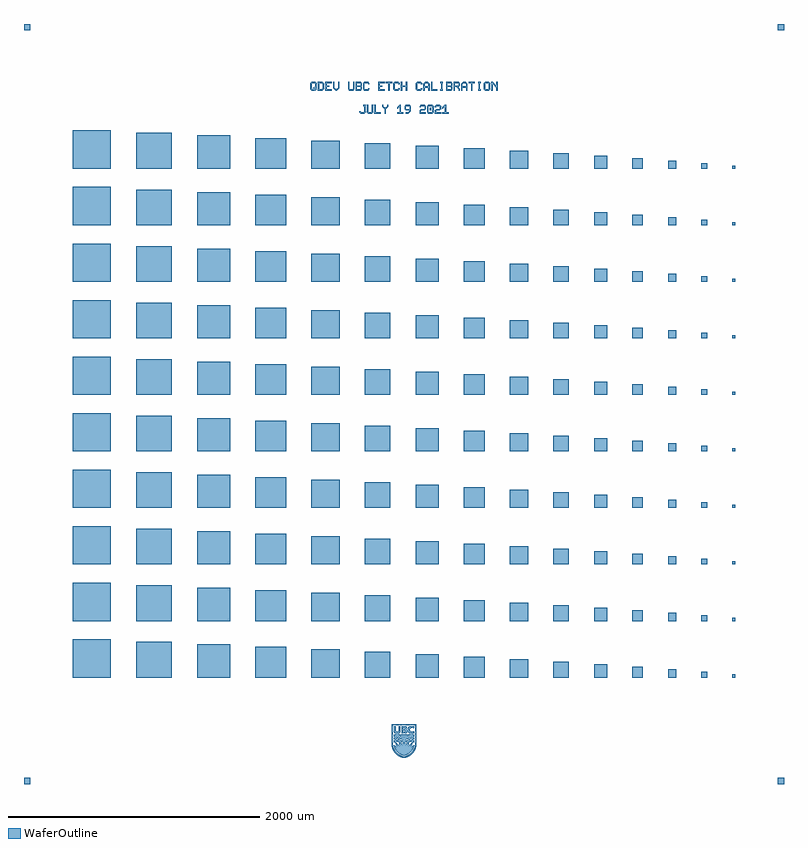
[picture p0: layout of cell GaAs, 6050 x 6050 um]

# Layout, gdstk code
import gdstk
lib = gdstk.Library(unit=1e-6, precision=1e-09)
def R(c, l, rs):  # rectangles x0, y0, x1, y1
    for r in rs: c.add(gdstk.rectangle(r[:2], r[2:], *l))
def P(c, l, *ps):  # polygons
    for p in ps: c.add(gdstk.Polygon(p, *l))
WaferOutline = (1, 0)

test1 = lib.new_cell('Test1')
R(test1, WaferOutline, [(0,0,305,305), (505,0,790,285), (990,0,1255,265), (1455,0,1700,245), (1900,0,2125,225), (2325,0,2530,205), (2730,0,2915,185), (3115,0,3280,165), (3480,0,3625,145), (3825,0,3950,125), (4150,0,4255,105), (4455,0,4540,85), (4740,0,4805,65), (5005,0,5050,45), (5250,0,5275,25)])

test_patterns = lib.new_cell('Test$Patterns')
test_patterns.add(gdstk.Reference(test1, (0,0)))

text = lib.new_cell('TEXT')
P(text, WaferOutline, [(10,0),(0,10),(0,60),(10,70),(40,70),(50,60),(15,60),(10,55),(10,15),(15,10),(25,10),(25,15),(20,20),(30,30),(35,25),(40,25),(40,55),(35,60),(50,60),(50,20),(45,15),(50,10),(40,0),(35,5),(30,0)],
  [(60,0),(60,70),(95,70),(105,60),(70,60),(70,10),(90,10),(100,20),(100,50),(90,60),(105,60),(110,55),(110,15),(95,0)],
  [(120,0),(120,70),(170,70),(170,60),(130,60),(130,40),(150,40),(150,30),(130,30),(130,10),(170,10),(170,0)],
  [(200,0),(180,20),(180,70),(190,70),(190,25),(205,10),(220,25),(220,70),(230,70),(230,20),(210,0)],
  [(310,0),(300,10),(300,70),(310,70),(310,15),(315,10),(335,10),(340,15),(340,70),(350,70),(350,10),(340,0)],
  [(360,0),(360,70),(400,70),(410,60),(370,60),(370,40),(395,40),(400,45),(400,55),(395,60),(410,60),(410,40),(405,35),(410,30),(370,30),(370,10),(395,10),(400,15),(400,25),(395,30),(410,30),(410,10),(400,0)],
  [(430,0),(420,10),(420,60),(430,70),(460,70),(470,60),(470,50),(460,50),(460,55),(455,60),(435,60),(430,55),(430,15),(435,10),(455,10),(460,15),(460,20),(470,20),(470,10),(460,0)],
  [(540,0),(540,70),(590,70),(590,60),(550,60),(550,40),(570,40),(570,30),(550,30),(550,10),(590,10),(590,0)],
  [(620,0),(620,60),(600,60),(600,70),(650,70),(650,60),(630,60),(630,0)],
  [(670,0),(660,10),(660,60),(670,70),(700,70),(710,60),(710,50),(700,50),(700,55),(695,60),(675,60),(670,55),(670,15),(675,10),(695,10),(700,15),(700,20),(710,20),(710,10),(700,0)],
  [(720,0),(720,70),(730,70),(730,40),(760,40),(760,70),(770,70),(770,0),(760,0),(760,30),(730,30),(730,0)],
  [(850,0),(840,10),(840,60),(850,70),(880,70),(890,60),(890,50),(880,50),(880,55),(875,60),(855,60),(850,55),(850,15),(855,10),(875,10),(880,15),(880,20),(890,20),(890,10),(880,0)],
  [(900,0),(900,55),(915,70),(935,70),(945,60),(920,60),(910,50),(910,35),(940,35),(940,50),(930,60),(945,60),(950,55),(950,0),(940,0),(940,25),(910,25),(910,0)],
  [(960,0),(960,70),(970,70),(970,10),(1010,10),(1010,0)],
  [(1035,0),(1035,10),(1040,10),(1040,60),(1035,60),(1035,70),(1055,70),(1055,60),(1050,60),(1050,10),(1055,10),(1055,0)],
  [(1080,0),(1080,70),(1120,70),(1130,60),(1090,60),(1090,40),(1115,40),(1120,45),(1120,55),(1115,60),(1130,60),(1130,40),(1125,35),(1130,30),(1090,30),(1090,10),(1115,10),(1120,15),(1120,25),(1115,30),(1130,30),(1130,10),(1120,0)],
  [(1140,0),(1140,70),(1180,70),(1190,60),(1150,60),(1150,40),(1175,40),(1180,45),(1180,55),(1175,60),(1190,60),(1190,40),(1180,30),(1180,25),(1190,15),(1190,0),(1180,0),(1180,10),(1160,30),(1150,30),(1150,0)],
  [(1200,0),(1200,55),(1215,70),(1235,70),(1245,60),(1220,60),(1210,50),(1210,35),(1240,35),(1240,50),(1230,60),(1245,60),(1250,55),(1250,0),(1240,0),(1240,25),(1210,25),(1210,0)],
  [(1280,0),(1280,60),(1260,60),(1260,70),(1310,70),(1310,60),(1290,60),(1290,0)],
  [(1335,0),(1335,10),(1340,10),(1340,60),(1335,60),(1335,70),(1355,70),(1355,60),(1350,60),(1350,10),(1355,10),(1355,0)],
  [(1390,0),(1380,10),(1380,60),(1390,70),(1420,70),(1430,60),(1430,35),(1420,35),(1420,55),(1415,60),(1395,60),(1390,55),(1390,15),(1395,10),(1415,10),(1420,15),(1420,35),(1430,35),(1430,10),(1420,0)],
  [(1440,0),(1440,70),(1450,70),(1475,45),(1480,45),(1480,70),(1490,70),(1490,0),(1480,0),(1480,25),(1455,50),(1450,50),(1450,0)])

ubc_logo = lib.new_cell('UBC$Logo')
P(ubc_logo, WaferOutline, [(37,-72),(37,-71),(36,-71),(36,-69),(35,-69),(35,-67),(34,-67),(34,-65),(39,-65),(39,-64),(42,-64),(42,-63),(45,-63),(45,-67),(44,-67),(44,-71),(41,-71),(41,-72)],
  [(58,-72),(58,-71),(55,-71),(55,-67),(54,-67),(54,-63),(57,-63),(57,-64),(60,-64),(60,-65),(65,-65),(65,-67),(64,-67),(64,-69),(63,-69),(63,-71),(62,-71),(62,-72)],
  [(9,-72),(9,-65),(12,-65),(12,-64),(15,-64),(15,-63),(18,-63),(18,-62),(25,-62),(25,-65),(26,-65),(26,-70),(17,-70),(17,-71),(15,-71),(15,-72)],
  [(84,-72),(84,-71),(82,-71),(82,-70),(73,-70),(73,-65),(74,-65),(74,-62),(81,-62),(81,-63),(84,-63),(84,-64),(87,-64),(87,-65),(90,-65),(90,-72)],
  [(48,-126),(48,-125),(46,-125),(46,-124),(43,-124),(43,-123),(41,-123),(41,-122),(39,-122),(39,-121),(36,-121),(36,-120),(35,-120),(35,-119),(33,-119),(33,-118),(31,-118),(31,-117),(30,-117),(30,-116),(28,-116),(28,-115),(27,-115),(27,-114),(26,-114),(26,-113),(25,-113),(25,-112),(24,-112),(24,-111),(23,-111),(23,-110),(22,-110),(22,-109),(21,-109),(21,-108),(20,-108),(20,-107),(19,-107),(19,-105),(18,-105),(18,-104),(17,-104),(17,-102),(16,-102),(16,-101),(15,-101),(15,-99),(14,-99),(14,-97),(13,-97),(13,-94),(12,-94),(12,-92),(11,-92),(11,-89),(10,-89),(10,-87),(9,-87),(9,-85),(11,-85),(11,-86),(12,-86),(12,-87),(14,-87),(14,-88),(15,-88),(15,-89),(16,-89),(16,-90),(18,-90),(18,-91),(19,-91),(19,-92),(20,-92),(20,-93),(22,-93),(22,-94),(23,-94),(23,-95),(24,-95),(24,-94),(23,-94),(23,-92),(22,-92),(22,-90),(21,-90),(21,-87),(20,-87),(20,-85),(19,-85),(19,-82),(18,-82),(18,-80),(17,-80),(17,-77),(16,-77),(16,-75),(15,-75),(15,-73),(17,-73),(17,-74),(18,-74),(18,-75),(19,-75),(19,-76),(20,-76),(20,-77),(21,-77),(21,-78),(22,-78),(22,-79),(23,-79),(23,-80),(24,-80),(24,-81),(25,-81),(25,-82),(26,-82),(26,-83),(27,-83),(27,-84),(28,-84),(28,-85),(29,-85),(29,-86),(30,-86),(30,-87),(31,-87),(31,-88),(32,-88),(32,-89),(33,-89),(33,-86),(32,-86),(32,-82),(31,-82),(31,-78),(30,-78),(30,-73),(29,-73),(29,-69),(28,-69),(28,-65),(27,-65),(27,-60),(26,-60),(26,-59),(24,-59),(24,-58),(21,-58),(21,-59),(17,-59),(17,-60),(14,-60),(14,-61),(9,-61),(9,-54),(12,-54),(12,-53),(15,-53),(15,-52),(18,-52),(18,-51),(28,-51),(28,-52),(31,-52),(31,-53),(34,-53),(34,-54),(38,-54),(38,-53),(42,-53),(42,-52),(45,-52),(45,-51),(47,-51),(47,-53),(46,-53),(46,-59),(44,-59),(44,-60),(41,-60),(41,-61),(31,-61),(31,-60),(29,-60),(29,-59),(28,-59),(28,-61),(29,-61),(29,-62),(30,-62),(30,-64),(31,-64),(31,-66),(32,-66),(32,-67),(33,-67),(33,-69),(34,-69),(34,-71),(35,-71),(35,-73),(36,-73),(36,-74),(37,-74),(37,-76),(38,-76),(38,-78),(39,-78),(39,-79),(40,-79),(40,-81),(41,-81),(41,-83),(42,-83),(42,-84),(43,-84),(43,-86),(44,-86),(44,-82),(45,-82),(45,-75),(46,-75),(46,-68),(47,-68),(47,-61),(48,-61),(48,-53),(49,-53),(49,-50),(50,-50),(50,-53),(51,-53),(51,-61),(52,-61),(52,-68),(53,-68),(53,-75),(54,-75),(54,-82),(55,-82),(55,-86),(56,-86),(56,-84),(57,-84),(57,-83),(58,-83),(58,-81),(59,-81),(59,-79),(60,-79),(60,-78),(61,-78),(61,-76),(62,-76),(62,-74),(63,-74),(63,-73),(64,-73),(64,-71),(65,-71),(65,-69),(66,-69),(66,-67),(67,-67),(67,-66),(68,-66),(68,-64),(69,-64),(69,-62),(70,-62),(70,-61),(71,-61),(71,-59),(70,-59),(70,-60),(68,-60),(68,-61),(58,-61),(58,-60),(55,-60),(55,-59),(53,-59),(53,-53),(52,-53),(52,-51),(54,-51),(54,-52),(57,-52),(57,-53),(61,-53),(61,-54),(65,-54),(65,-53),(68,-53),(68,-52),(71,-52),(71,-51),(81,-51),(81,-52),(84,-52),(84,-53),(87,-53),(87,-54),(90,-54),(90,-61),(85,-61),(85,-60),(82,-60),(82,-59),(78,-59),(78,-58),(75,-58),(75,-59),(73,-59),(73,-60),(72,-60),(72,-65),(71,-65),(71,-69),(70,-69),(70,-73),(69,-73),(69,-78),(68,-78),(68,-82),(67,-82),(67,-86),(66,-86),(66,-89),(67,-89),(67,-88),(68,-88),(68,-87),(69,-87),(69,-86),(70,-86),(70,-85),(71,-85),(71,-84),(72,-84),(72,-83),(73,-83),(73,-82),(74,-82),(74,-81),(75,-81),(75,-80),(76,-80),(76,-79),(77,-79),(77,-78),(78,-78),(78,-77),(79,-77),(79,-76),(80,-76),(80,-75),(81,-75),(81,-74),(82,-74),(82,-73),(84,-73),(84,-75),(83,-75),(83,-77),(82,-77),(82,-80),(81,-80),(81,-82),(80,-82),(80,-85),(79,-85),(79,-87),(78,-87),(78,-90),(77,-90),(77,-92),(76,-92),(76,-94),(75,-94),(75,-95),(76,-95),(76,-94),(77,-94),(77,-93),(79,-93),(79,-92),(80,-92),(80,-91),(81,-91),(81,-90),(83,-90),(83,-89),(84,-89),(84,-88),(85,-88),(85,-87),(87,-87),(87,-86),(88,-86),(88,-85),(90,-85),(90,-87),(89,-87),(89,-89),(88,-89),(88,-92),(87,-92),(87,-94),(86,-94),(86,-97),(85,-97),(85,-99),(84,-99),(84,-101),(83,-101),(83,-102),(82,-102),(82,-104),(81,-104),(81,-105),(80,-105),(80,-107),(79,-107),(79,-108),(78,-108),(78,-109),(77,-109),(77,-110),(76,-110),(76,-111),(75,-111),(75,-112),(74,-112),(74,-113),(73,-113),(73,-114),(72,-114),(72,-115),(71,-115),(71,-116),(69,-116),(69,-117),(68,-117),(68,-118),(66,-118),(66,-119),(64,-119),(64,-120),(63,-120),(63,-121),(60,-121),(60,-122),(58,-122),(58,-123),(56,-123),(56,-124),(53,-124),(53,-125),(51,-125),(51,-126)],
  [(9,-50),(9,-43),(11,-43),(11,-42),(14,-42),(14,-41),(17,-41),(17,-40),(28,-40),(28,-41),(31,-41),(31,-42),(35,-42),(35,-43),(37,-43),(37,-42),(41,-42),(41,-41),(44,-41),(44,-40),(55,-40),(55,-41),(58,-41),(58,-42),(62,-42),(62,-43),(64,-43),(64,-42),(68,-42),(68,-41),(71,-41),(71,-40),(82,-40),(82,-41),(85,-41),(85,-42),(88,-42),(88,-43),(90,-43),(90,-50),(85,-50),(85,-49),(83,-49),(83,-48),(79,-48),(79,-47),(74,-47),(74,-48),(70,-48),(70,-49),(67,-49),(67,-50),(59,-50),(59,-49),(56,-49),(56,-48),(52,-48),(52,-47),(47,-47),(47,-48),(43,-48),(43,-49),(40,-49),(40,-50),(32,-50),(32,-49),(29,-49),(29,-48),(25,-48),(25,-47),(20,-47),(20,-48),(16,-48),(16,-49),(14,-49),(14,-50)],
  [(18,-38),(18,-37),(15,-37),(15,-36),(13,-36),(13,-35),(12,-35),(12,-34),(11,-34),(11,-33),(10,-33),(10,-31),(9,-31),(9,-8),(16,-8),(16,-26),(17,-26),(17,-29),(18,-29),(18,-30),(19,-30),(19,-31),(21,-31),(21,-32),(23,-32),(23,-31),(26,-31),(26,-30),(27,-30),(27,-28),(28,-28),(28,-8),(35,-8),(35,-31),(34,-31),(34,-33),(33,-33),(33,-34),(32,-34),(32,-35),(31,-35),(31,-36),(29,-36),(29,-37),(26,-37),(26,-38)],
  [(40,-37),(40,-25),(47,-25),(47,-32),(51,-32),(51,-31),(54,-31),(54,-30),(55,-30),(55,-27),(54,-27),(54,-26),(53,-26),(53,-25),(40,-25),(40,-14),(47,-14),(47,-20),(50,-20),(50,-19),(53,-19),(53,-18),(54,-18),(54,-16),(53,-16),(53,-15),(52,-15),(52,-14),(40,-14),(40,-8),(53,-8),(53,-9),(57,-9),(57,-10),(59,-10),(59,-11),(60,-11),(60,-13),(61,-13),(61,-19),(60,-19),(60,-21),(59,-21),(59,-23),(61,-23),(61,-25),(62,-25),(62,-32),(61,-32),(61,-34),(60,-34),(60,-35),(59,-35),(59,-36),(56,-36),(56,-37)],
  [(76,-38),(76,-37),(73,-37),(73,-36),(71,-36),(71,-35),(70,-35),(70,-34),(68,-34),(68,-32),(67,-32),(67,-31),(66,-31),(66,-28),(65,-28),(65,-17),(66,-17),(66,-15),(67,-15),(67,-13),(68,-13),(68,-12),(69,-12),(69,-11),(71,-11),(71,-10),(72,-10),(72,-9),(75,-9),(75,-8),(86,-8),(86,-9),(89,-9),(89,-10),(90,-10),(90,-12),(89,-12),(89,-17),(87,-17),(87,-16),(86,-16),(86,-15),(83,-15),(83,-14),(78,-14),(78,-15),(76,-15),(76,-16),(75,-16),(75,-17),(74,-17),(74,-18),(73,-18),(73,-22),(72,-22),(72,-23),(73,-23),(73,-27),(74,-27),(74,-29),(75,-29),(75,-30),(77,-30),(77,-31),(80,-31),(80,-32),(82,-32),(82,-31),(85,-31),(85,-30),(87,-30),(87,-29),(89,-29),(89,-30),(90,-30),(90,-36),(88,-36),(88,-37),(84,-37),(84,-38)],
  [(46,-135),(46,-134),(42,-134),(42,-133),(40,-133),(40,-132),(37,-132),(37,-131),(35,-131),(35,-130),(33,-130),(33,-129),(31,-129),(31,-128),(29,-128),(29,-127),(27,-127),(27,-126),(26,-126),(26,-125),(24,-125),(24,-124),(23,-124),(23,-123),(22,-123),(22,-122),(20,-122),(20,-121),(19,-121),(19,-120),(18,-120),(18,-119),(17,-119),(17,-118),(16,-118),(16,-117),(15,-117),(15,-116),(14,-116),(14,-115),(13,-115),(13,-114),(12,-114),(12,-112),(11,-112),(11,-111),(10,-111),(10,-109),(9,-109),(9,-108),(8,-108),(8,-106),(7,-106),(7,-104),(6,-104),(6,-102),(5,-102),(5,-100),(4,-100),(4,-98),(3,-98),(3,-95),(2,-95),(2,-91),(1,-91),(1,-86),(0,-86),(0,-4),(4,-4),(4,-79),(5,-79),(5,-86),(6,-86),(6,-91),(7,-91),(7,-94),(8,-94),(8,-97),(9,-97),(9,-99),(10,-99),(10,-101),(11,-101),(11,-103),(12,-103),(12,-105),(13,-105),(13,-106),(14,-106),(14,-108),(15,-108),(15,-109),(16,-109),(16,-110),(17,-110),(17,-111),(18,-111),(18,-113),(19,-113),(19,-114),(20,-114),(20,-115),(21,-115),(21,-116),(23,-116),(23,-117),(24,-117),(24,-118),(25,-118),(25,-119),(26,-119),(26,-120),(28,-120),(28,-121),(29,-121),(29,-122),(31,-122),(31,-123),(32,-123),(32,-124),(34,-124),(34,-125),(36,-125),(36,-126),(38,-126),(38,-127),(41,-127),(41,-128),(43,-128),(43,-129),(46,-129),(46,-130),(53,-130),(53,-129),(56,-129),(56,-128),(58,-128),(58,-127),(61,-127),(61,-126),(63,-126),(63,-125),(65,-125),(65,-124),(67,-124),(67,-123),(68,-123),(68,-122),(70,-122),(70,-121),(71,-121),(71,-120),(73,-120),(73,-119),(74,-119),(74,-118),(75,-118),(75,-117),(76,-117),(76,-116),(78,-116),(78,-115),(79,-115),(79,-114),(80,-114),(80,-113),(81,-113),(81,-111),(82,-111),(82,-110),(83,-110),(83,-109),(84,-109),(84,-108),(85,-108),(85,-106),(86,-106),(86,-105),(87,-105),(87,-103),(88,-103),(88,-101),(89,-101),(89,-99),(90,-99),(90,-97),(91,-97),(91,-94),(92,-94),(92,-91),(93,-91),(93,-86),(94,-86),(94,-79),(95,-79),(95,-4),(0,-4),(0,0),(99,0),(99,-86),(98,-86),(98,-91),(97,-91),(97,-95),(96,-95),(96,-98),(95,-98),(95,-100),(94,-100),(94,-102),(93,-102),(93,-104),(92,-104),(92,-106),(91,-106),(91,-108),(90,-108),(90,-109),(89,-109),(89,-111),(88,-111),(88,-112),(87,-112),(87,-114),(86,-114),(86,-115),(85,-115),(85,-116),(84,-116),(84,-117),(83,-117),(83,-118),(82,-118),(82,-119),(81,-119),(81,-120),(80,-120),(80,-121),(79,-121),(79,-122),(77,-122),(77,-123),(76,-123),(76,-124),(75,-124),(75,-125),(73,-125),(73,-126),(72,-126),(72,-127),(70,-127),(70,-128),(68,-128),(68,-129),(66,-129),(66,-130),(64,-130),(64,-131),(62,-131),(62,-132),(59,-132),(59,-133),(57,-133),(57,-134),(53,-134),(53,-135)])

text_3 = lib.new_cell('TEXT$3')
R(text_3, WaferOutline, [(560,25,570,45)])
P(text_3, WaferOutline, [(10,0),(0,10),(0,20),(10,20),(10,15),(15,10),(35,10),(40,15),(40,60),(30,60),(30,70),(50,70),(50,10),(40,0)],
  [(70,0),(60,10),(60,70),(70,70),(70,15),(75,10),(95,10),(100,15),(100,70),(110,70),(110,10),(100,0)],
  [(120,0),(120,70),(130,70),(130,10),(170,10),(170,0)],
  [(200,0),(200,35),(180,55),(180,70),(190,70),(190,60),(205,45),(220,60),(220,70),(230,70),(230,55),(210,35),(210,0)],
  [(300,0),(300,10),(320,10),(320,50),(315,50),(305,40),(300,40),(300,50),(320,70),(330,70),(330,10),(350,10),(350,0)],
  [(370,0),(370,10),(385,10),(395,20),(395,25),(370,25),(360,35),(395,35),(400,40),(400,55),(395,60),(375,60),(370,55),(370,40),(375,35),(360,35),(360,60),(370,70),(400,70),(410,60),(410,20),(390,0)],
  [(480,0),(480,25),(490,35),(515,35),(520,40),(520,55),(515,60),(495,60),(490,55),(490,50),(480,50),(480,60),(490,70),(520,70),(530,60),(530,35),(520,25),(495,25),(490,20),(490,10),(530,10),(530,0)],
  [(550,0),(540,10),(540,60),(550,70),(580,70),(590,60),(555,60),(550,55),(550,15),(555,10),(575,10),(580,15),(580,55),(575,60),(590,60),(590,10),(580,0)],
  [(600,0),(600,25),(610,35),(635,35),(640,40),(640,55),(635,60),(615,60),(610,55),(610,50),(600,50),(600,60),(610,70),(640,70),(650,60),(650,35),(640,25),(615,25),(610,20),(610,10),(650,10),(650,0)],
  [(660,0),(660,10),(680,10),(680,50),(675,50),(665,40),(660,40),(660,50),(680,70),(690,70),(690,10),(710,10),(710,0)])

c_50umsquare = lib.new_cell('50umSquare')
R(c_50umsquare, WaferOutline, [(-25,-25,25,25)])

gaas = lib.new_cell('GaAs')
r = gdstk.Reference(test_patterns, (-2637.5,-2177.5)); r.repetition = gdstk.Repetition(1, 10, v1=(0,0), v2=(0,450)); gaas.add(r)
gaas.add(gdstk.Reference(text, (-745,2493.606)))
gaas.add(gdstk.Reference(ubc_logo, (-99,-2548), magnification=2))
gaas.add(gdstk.Reference(text_3, (-355,2311.606)))
r = gdstk.Reference(c_50umsquare, (-3000,-3000)); r.repetition = gdstk.Repetition(2, 2, v1=(6000,0), v2=(0,6000)); gaas.add(r)

lib.write_gds('GaAs.gds')
